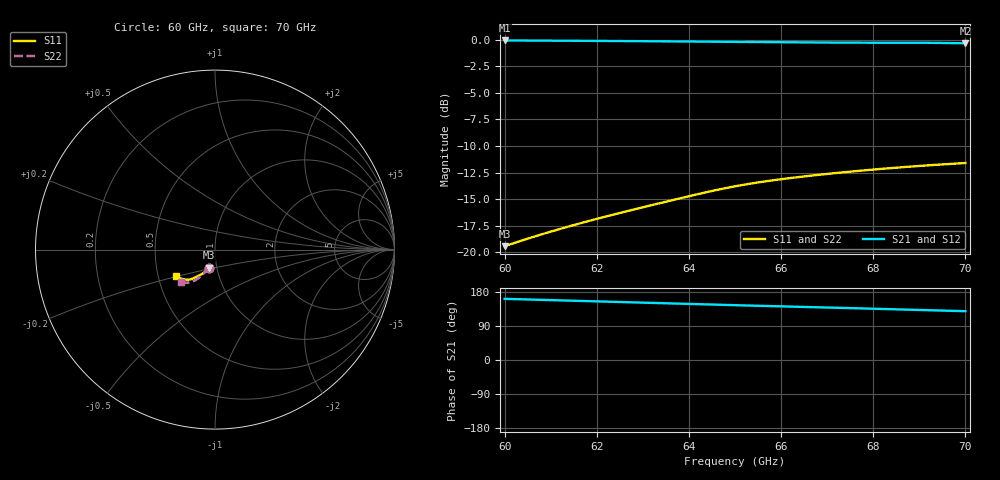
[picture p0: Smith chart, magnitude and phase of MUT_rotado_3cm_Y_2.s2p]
! TOUCHSTONE file generated by CST MICROWAVE STUDIO
! Date and time: Wed Feb 21 09:08:32 2024
! Project name: material_prueba.cst
! Parameters = {Y=0.25}
! Header version: 2018
! Port assignment regex: !\s*Touchstone port\s*([0-9]+)\s*=\s*(CST MWS port|CST DS port)\s*([0-9]+|Zmin|Zmax)\s*\(\"(.*)\"\)(\s*mode\s*([0-9]+))?.*
! Touchstone port assignment:
! Touchstone port 1 = CST MWS port 1 ("")
! Touchstone port 2 = CST MWS port 2 ("")
# GHz S MA R 376.7
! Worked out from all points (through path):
!   1001 points, 60 GHz to 70 GHz, reference 376.7 ohm
!   highest |S21| = -0.05 dB at 60 GHz (marker M1); lowest = -0.3 dB at 70 GHz (marker M2)
!   group delay of S21, straight-line fit = 8.99 ps
!   lowest |S11| = -19.4 dB at 60 GHz (marker M3), VSWR 1.24, Z = 344 - j70.2 ohm
!   |S11| at or under -10 dB: start of sweep to end of sweep
!   |S22| runs from -19.4 to -11.6 dB; largest |S21 - S12| = 0.00023
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60  0.1066 -109.2  0.9943 161.4  0.9943 161.4  0.1066 -108.0
60.05  0.1075 -109.3  0.9942 161.2  0.9942 161.2  0.1074 -108.1
60.46  0.1149 -110.5  0.9934 159.8  0.9934 159.8  0.1141 -109.2
60.88  0.1226 -111.8  0.9925 158.4  0.9925 158.4  0.1213 -110.5
61.67  0.1372 -114.6  0.9906 155.7  0.9906 155.7  0.1363 -113.6
62.63  0.1554 -118.5  0.9878 152.5  0.9878 152.5  0.1571 -117.0
62.99  0.1624 -120.0  0.9866 151.3  0.9866 151.3  0.1651 -118.0
63.34  0.1694 -121.5  0.9854 150.1  0.9854 150.1  0.1727 -118.9
63.73  0.1776 -123.2  0.984 148.8  0.984 148.8  0.1807 -119.8
64.14  0.1864 -124.8  0.9824 147.5  0.9825 147.5  0.1888 -120.8
64.6  0.1962 -126.5  0.9806 146.0  0.9806 146.0  0.1973 -122.0
65  0.2042 -127.7  0.9789 144.7  0.9789 144.7  0.2042 -123.0
65.36  0.2107 -128.8  0.9774 143.5  0.9774 143.5  0.2101 -123.9
65.74  0.2167 -130.0  0.9757 142.3  0.9757 142.3  0.216 -124.9
66.17  0.2229 -131.4  0.9739 141.0  0.9739 141.0  0.2223 -126.1
66.67  0.2295 -133.2  0.972 139.4  0.972 139.4  0.2292 -127.4
67.48  0.2392 -136.3  0.9709 137.0  0.9709 137.0  0.2392 -129.6
67.96  0.2445 -138.2  0.9716 135.5  0.9716 135.5  0.2446 -131.0
68.34  0.2484 -139.7  0.972 134.2  0.9719 134.3  0.2486 -132.0
69.15  0.256 -142.9  0.9697 131.5  0.9697 131.5  0.2562 -134.2
69.63  0.2601 -144.7  0.967 130.0  0.9671 130.0  0.2603 -135.4
70  0.2629 -146.1  0.9647 128.8  0.9648 128.8  0.2632 -136.4
